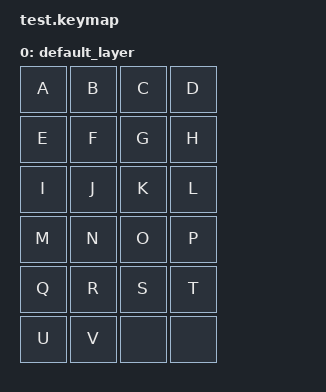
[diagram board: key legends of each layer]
#include <zmk/keymap.h>

/ {
    keymap {
        compatible = "zmk,keymap";

        default_layer {
            bindings = <
                &kp A  &kp B  &kp C  &kp D
                &kp E  &kp F  &kp G  &kp H
                &kp I  &kp J  &kp K  &kp L
                &kp M  &kp N  &kp O  &kp P
                &kp Q  &kp R  &kp S  &kp T
                &kp U  &kp V  &none  &none
            >;
        };
    };
};
